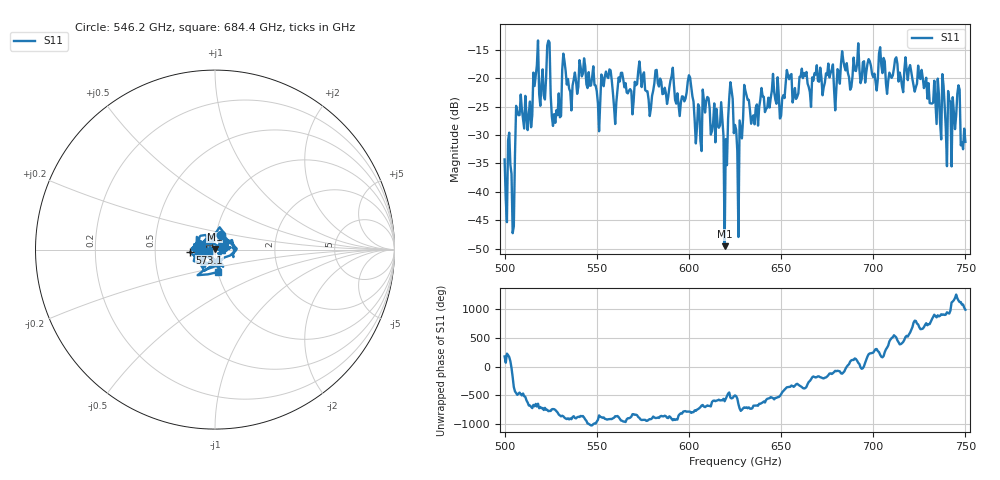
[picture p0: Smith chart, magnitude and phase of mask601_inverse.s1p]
!Created with skrf (http://scikit-rf.org).
# GHz S MA R 50.0
!freq magS11 angS11
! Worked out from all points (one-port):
!   401 points, 500 GHz to 750 GHz, reference 50 ohm
!   lowest |S11| = -49.6 dB at 619.4 GHz (marker M1), VSWR 1.01, Z = 49.9 + j0.298 ohm
!   |S11| at or under -10 dB: start of sweep to end of sweep
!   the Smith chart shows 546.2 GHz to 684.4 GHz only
!   S11 on the Smith chart (normalised r, x): 546.2 GHz: 1.05, +0.17; 573.1 GHz: 0.76, -0.02; 684.4 GHz: 1.00, -0.25
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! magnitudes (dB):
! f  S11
! 500 GHz  -34.3
! 504.4 GHz  -47.3
! 507.5 GHz  -26.5
! 513.8 GHz  -24.1
! 516.9 GHz  -19.5
! 520.6 GHz  -18.5
! 523.8 GHz  -13.4
! 526.9 GHz  -26.3
! 531.2 GHz  -18.5
! 546.2 GHz  -21.4
! 562.5 GHz  -20.6
! 573.1 GHz  -17.1
! 593.8 GHz  -22.7
! 605.6 GHz  -25.1
! 608.8 GHz  -26.1
! 617.5 GHz  -24.2
! 619.4 GHz  -49.6
! 622.5 GHz  -20.7
! 625 GHz  -28.2
! 627.5 GHz  -27.4
! 631.2 GHz  -23.0
! 656.2 GHz  -24.3
! 684.4 GHz  -18.0
! 687.5 GHz  -22.0
! 718.8 GHz  -20.4
! 741.2 GHz  -23.9
! 745.6 GHz  -22.7
! 750 GHz  -31.2
